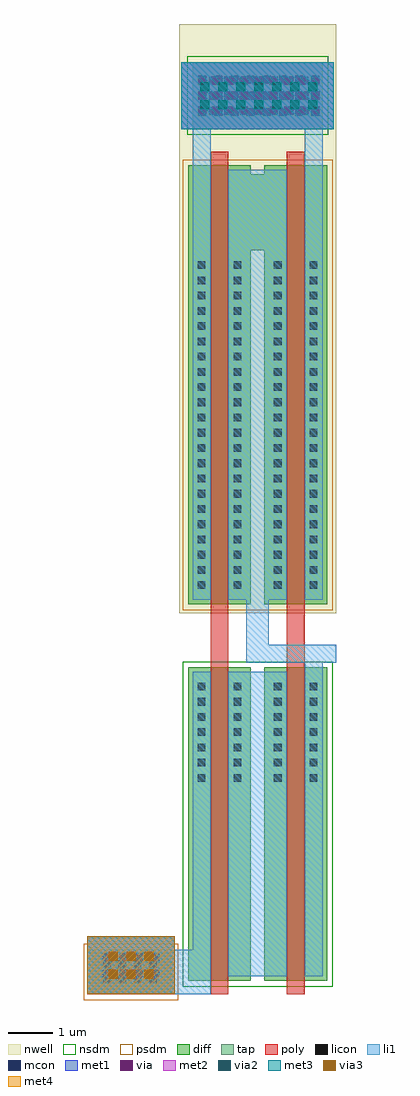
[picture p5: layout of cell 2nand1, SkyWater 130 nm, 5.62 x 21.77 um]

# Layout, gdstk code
import gdstk
lib = gdstk.Library(unit=1e-6, precision=1e-09)
def R(c, l, rs):  # rectangles x0, y0, x1, y1
    for r in rs: c.add(gdstk.rectangle(r[:2], r[2:], *l))
def A(c, l, x, y, w, h, nx, ny, dx, dy):  # array of equal rectangles
    R(c, l, [(x+i*dx, y+j*dy, x+i*dx+w, y+j*dy+h) for i in range(nx) for j in range(ny)])
nwell = (64, 20)
diff = (65, 20)
tap = (65, 44)
poly = (66, 20)
licon = (66, 44)
li1 = (67, 20)
mcon = (67, 44)
met1 = (68, 20)
via = (68, 44)
met2 = (69, 20)
via2 = (69, 44)
met3 = (70, 20)
via3 = (70, 44)
met4 = (71, 20)
nsdm = (93, 44)
psdm = (94, 20)

c_2nand1 = lib.new_cell('2nand1')
R(c_2nand1, nwell, [(-0.3,0.5,3.2,13.65)])
R(c_2nand1, diff, [(-0.1,-7.7,1.3,-0.7), (1.6,-7.7,3,-0.7), (-0.1,0.7,1.3,8.6), (1.6,0.7,3,8.6), (-0.1,8.6,3,10.3), (-0.1,10.3,1.3,10.5), (1.6,10.3,3,10.5)])
R(c_2nand1, tap, [(-2.3,-8,-0.45,-7), (0,11.3,2.9,12.8)])
R(c_2nand1, poly, [(0.4,-8,0.8,10.8), (2.1,-8,2.5,10.8)])
A(c_2nand1, licon, -1.995, -7.755, 0.17, 0.17, 4, 2, 0.34, 0.34)
A(c_2nand1, licon, 0.115, -3.255, 0.17, 0.17, 1, 7, 0, 0.34)
A(c_2nand1, licon, 0.915, -3.255, 0.17, 0.17, 1, 7, 0, 0.34)
A(c_2nand1, licon, 1.815, -3.255, 0.17, 0.17, 1, 7, 0, 0.34)
A(c_2nand1, licon, 2.615, -3.255, 0.17, 0.17, 1, 7, 0, 0.34)
A(c_2nand1, licon, 0.115, 1.045, 0.17, 0.17, 1, 22, 0, 0.34)
A(c_2nand1, licon, 0.915, 1.045, 0.17, 0.17, 1, 22, 0, 0.34)
A(c_2nand1, licon, 1.815, 1.045, 0.17, 0.17, 1, 22, 0, 0.34)
A(c_2nand1, licon, 2.615, 1.045, 0.17, 0.17, 1, 22, 0, 0.34)
A(c_2nand1, licon, 0.37, 11.625, 0.17, 0.17, 7, 3, 0.34, 0.34)
R(c_2nand1, li1, [(-2.35,-8,0.4,-7), (0.8,-7.6,2.1,-0.8), (2.5,-7.6,2.9,-0.6), (-2.35,-7,-0.4,-6.7), (0,-7,0.4,-0.8), (1.2,-0.6,3.2,-0.2), (1.2,-0.2,1.7,0.8), (0,0.8,0.4,11.3), (0.8,0.8,2.1,10.4), (2.5,0.8,2.9,11.3), (-0.25,11.3,3.15,12.8)])
A(c_2nand1, mcon, -2, -7.615, 0.17, 0.17, 4, 2, 0.36, 0.36)
A(c_2nand1, mcon, 0.13, 11.605, 0.17, 0.17, 8, 3, 0.36, 0.36)
R(c_2nand1, met1, [(-2.35,-8,-0.4,-6.7), (-0.25,11.3,3.15,12.8)])
A(c_2nand1, via, -1.93, -7.585, 0.15, 0.15, 4, 2, 0.32, 0.32)
A(c_2nand1, via, 0.12, 11.655, 0.15, 0.15, 9, 3, 0.32, 0.32)
R(c_2nand1, met2, [(-2.35,-8,-0.4,-6.7), (-0.25,11.3,3.15,12.8)])
A(c_2nand1, via2, -1.875, -7.65, 0.2, 0.2, 3, 2, 0.4, 0.4)
A(c_2nand1, via2, 0.175, 11.75, 0.2, 0.2, 7, 2, 0.4, 0.4)
R(c_2nand1, met3, [(-2.35,-8,-0.4,-6.7), (-0.25,11.3,3.15,12.8)])
A(c_2nand1, via3, -1.875, -7.65, 0.2, 0.2, 3, 2, 0.4, 0.4)
R(c_2nand1, met4, [(-2.35,-8,-0.4,-6.7)])
R(c_2nand1, nsdm, [(-0.225,-7.825,3.125,-0.575), (-0.125,11.175,3.025,12.925)])
R(c_2nand1, psdm, [(-2.425,-8.125,-0.325,-6.875), (-0.225,0.575,3.125,10.625)])

lib.write_gds('2nand1.gds')
